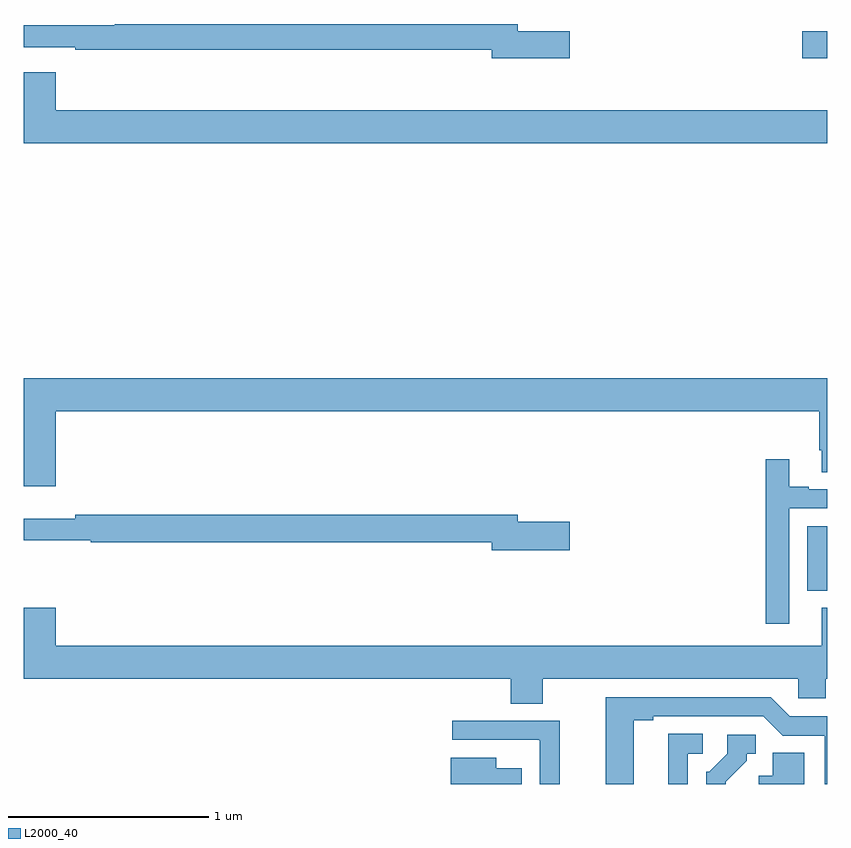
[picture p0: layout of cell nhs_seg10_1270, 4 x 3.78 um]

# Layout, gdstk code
import gdstk
lib = gdstk.Library(unit=1e-6, precision=1e-09)
def R(c, l, rs):  # rectangles x0, y0, x1, y1
    for r in rs: c.add(gdstk.rectangle(r[:2], r[2:], *l))
def P(c, l, *ps):  # polygons
    for p in ps: c.add(gdstk.Polygon(p, *l))
L2000_40 = (2000, 40)

nhs_seg10_1270 = lib.new_cell('nhs_seg10_1270')
R(nhs_seg10_1270, L2000_40, [(180.899,1259.462,181,1259.782), (180.876,1262.111,181,1262.246)])
P(nhs_seg10_1270, L2000_40, [(179.719,1262.246),(179.458,1262.246),(179.458,1262.282),(177.454,1262.282),(177.454,1262.275),(177,1262.275),(177,1262.166),(177.256,1262.166),(177.256,1262.154),(179.33,1262.154),(179.33,1262.111),(179.719,1262.111)],
  [(181,1261.852),(177.16,1261.852),(177.16,1262.041),(177,1262.041),(177,1261.688),(181,1261.688)],
  [(177.16,1260.356),(180.959,1260.356),(180.959,1260.16),(180.971,1260.16),(180.971,1260.052),(181,1260.052),(181,1260.52),(177,1260.52),(177,1259.982),(177.16,1259.982)],
  [(180.81,1259.871),(181,1259.871),(181,1259.967),(180.907,1259.967),(180.907,1259.98),(180.811,1259.98),(180.811,1260.115),(180.694,1260.115),(180.694,1259.298),(180.81,1259.298)],
  [(179.719,1259.804),(179.458,1259.804),(179.458,1259.84),(177.256,1259.84),(177.256,1259.821),(177,1259.821),(177,1259.712),(177.334,1259.712),(177.334,1259.704),(179.33,1259.704),(179.33,1259.662),(179.719,1259.662)],
  [(179.583,1259.024),(180.855,1259.024),(180.855,1258.926),(180.993,1258.926),(180.993,1259.024),(181,1259.024),(181,1259.377),(180.971,1259.377),(180.971,1259.188),(177.16,1259.188),(177.16,1259.377),(177,1259.377),(177,1259.024),(179.423,1259.024),(179.423,1258.9),(179.583,1258.9)],
  [(180.037,1258.816),(180.133,1258.816),(180.133,1258.836),(180.681,1258.836),(180.777,1258.74),(180.987,1258.74),(180.987,1258.5),(181,1258.5),(181,1258.836),(180.813,1258.836),(180.717,1258.932),(179.897,1258.932),(179.897,1258.5),(180.037,1258.5)],
  [(179.667,1258.815),(179.133,1258.815),(179.133,1258.719),(179.567,1258.719),(179.567,1258.718),(179.568,1258.718),(179.568,1258.5),(179.667,1258.5)],
  [(180.306,1258.65),(180.379,1258.65),(180.379,1258.751),(180.209,1258.751),(180.209,1258.5),(180.306,1258.5)],
  [(180.493,1258.51),(180.598,1258.615),(180.598,1258.65),(180.643,1258.65),(180.643,1258.746),(180.501,1258.746),(180.501,1258.65),(180.411,1258.56),(180.396,1258.56),(180.396,1258.5),(180.493,1258.5)],
  [(180.886,1258.655),(180.728,1258.655),(180.728,1258.54),(180.659,1258.54),(180.659,1258.5),(180.886,1258.5)],
  [(179.479,1258.579),(179.353,1258.579),(179.353,1258.63),(179.126,1258.63),(179.126,1258.5),(179.479,1258.5)])

lib.write_gds('nhs_seg10_1270.gds')
